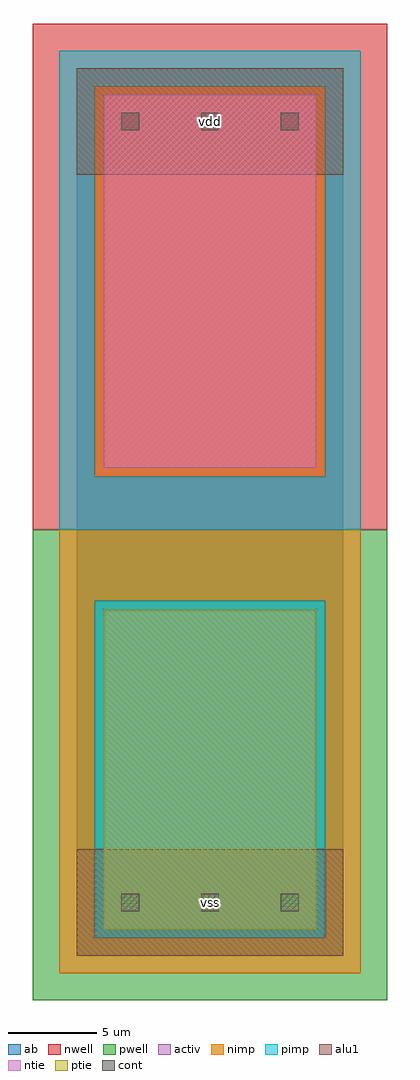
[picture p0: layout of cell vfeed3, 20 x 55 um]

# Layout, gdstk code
import gdstk
lib = gdstk.Library(unit=1e-6, precision=1e-09)
def R(c, l, rs):  # rectangles x0, y0, x1, y1
    for r in rs: c.add(gdstk.rectangle(r[:2], r[2:], *l))
def A(c, l, x, y, w, h, nx, ny, dx, dy):  # array of equal rectangles
    R(c, l, [(x+i*dx, y+j*dy, x+i*dx+w, y+j*dy+h) for i in range(nx) for j in range(ny)])
ntie = (5, 0)
ptie = (6, 0)
cont = (25, 0)
pwell = (41, 0)
nwell = (42, 0)
activ = (43, 0)
pimp = (44, 0)
nimp = (45, 0)
alu1 = (49, 0)
ab = (63, 0)

vfeed3 = lib.new_cell('vfeed3')
R(vfeed3, ntie, [(1.5,27.5,13.5,48.5)])
R(vfeed3, ptie, [(1.5,1.5,13.5,19.5)])
A(vfeed3, cont, 2.5, 2.5, 1, 1, 3, 2, 4.5, 44)
R(vfeed3, pwell, [(-2.5,-2.5,17.5,24)])
R(vfeed3, nwell, [(-2.5,24,17.5,52.5)])
R(vfeed3, activ, [(1.5,1.5,13.5,19.5), (1.5,27.5,13.5,48.5)])
R(vfeed3, pimp, [(1,1,14,20), (-1,24,16,27), (-1,27,1,49), (14,27,16,49), (-1,49,16,51)])
R(vfeed3, nimp, [(-1,-1,16,1), (-1,1,1,20), (14,1,16,20), (-1,20,16,24), (1,27,14,49)])
R(vfeed3, alu1, [(0,0,15,6), (0,0,15,6), (0,44,15,50), (0,44,15,50)])
R(vfeed3, ab, [(0,0,15,50)])
vfeed3.add(gdstk.Label('vss', (7.5,3), layer=49, texttype=0))
vfeed3.add(gdstk.Label('vdd', (7.5,47), layer=49, texttype=0))

lib.write_gds('vfeed3.gds')
